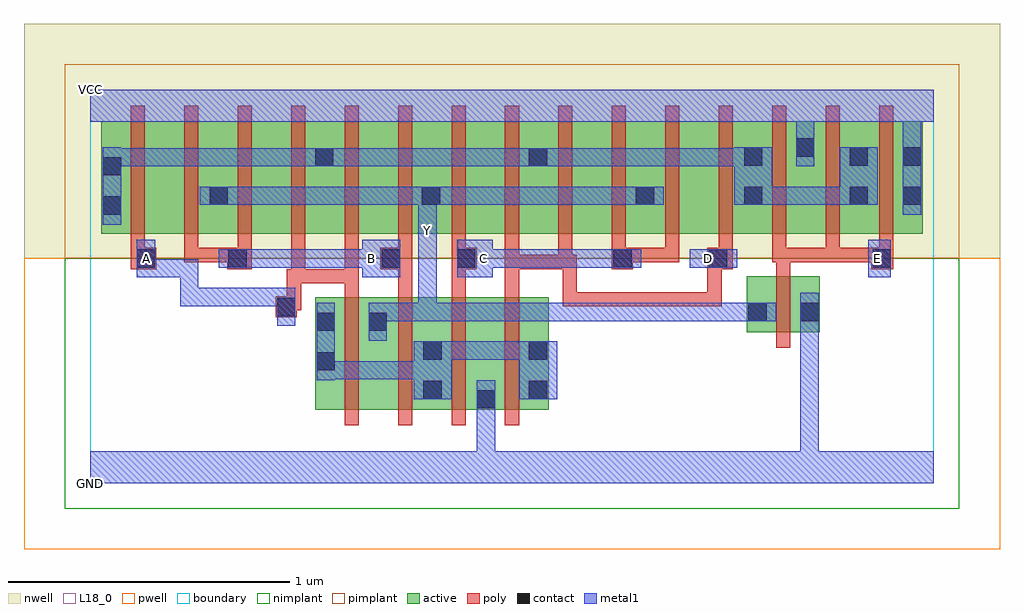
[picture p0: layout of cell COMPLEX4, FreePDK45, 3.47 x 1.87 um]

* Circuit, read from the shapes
.subckt COMPLEX4 A B C D E GND VCC Y
M1 Y A n1 VSUBS nfet w=0.4u l=0.05u
M2 n1 B Y VSUBS nfet w=0.4u l=0.05u
M3 GND C n1 VSUBS nfet w=0.4u l=0.05u
M4 n1 D GND VSUBS nfet w=0.4u l=0.05u
M5 GND E Y VSUBS nfet w=0.2u l=0.05u
M6 n2 A n3 n4 pfet w=0.4u l=0.05u
M7 Y B n2 n4 pfet w=0.4u l=0.05u
M8 n5 B Y n4 pfet w=0.4u l=0.05u
M9 n3 A n5 n4 pfet w=0.4u l=0.05u
M10 n6 A n3 n4 pfet w=0.4u l=0.05u
M11 Y B n6 n4 pfet w=0.4u l=0.05u
M12 n7 C Y n4 pfet w=0.4u l=0.05u
M13 n3 D n7 n4 pfet w=0.4u l=0.05u
M14 n8 D n3 n4 pfet w=0.4u l=0.05u
M15 Y C n8 n4 pfet w=0.4u l=0.05u
M16 n9 C Y n4 pfet w=0.4u l=0.05u
M17 n3 D n9 n4 pfet w=0.4u l=0.05u
M18 VCC E n3 n4 pfet w=0.4u l=0.05u m=3
.ends

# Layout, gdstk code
import gdstk
lib = gdstk.Library(unit=1e-6, precision=1e-09)
def R(c, l, rs):  # rectangles x0, y0, x1, y1
    for r in rs: c.add(gdstk.rectangle(r[:2], r[2:], *l))
def A(c, l, x, y, w, h, nx, ny, dx, dy):  # array of equal rectangles
    R(c, l, [(x+i*dx, y+j*dy, x+i*dx+w, y+j*dy+h) for i in range(nx) for j in range(ny)])
active = (1, 0)
pwell = (2, 0)
nwell = (3, 0)
nimplant = (4, 0)
pimplant = (5, 0)
poly = (9, 0)
contact = (10, 0)
metal1 = (11, 0)
L18_0 = (18, 0)
boundary = (235, 0)

complex4 = lib.new_cell('COMPLEX4')
A(complex4, active, 0.645, 0.887, 0.225, 0.4, 4, 1, 0.38, 0)
A(complex4, active, 0.795, 0.887, 0.23, 0.4, 4, 1, 0.38, 0)
R(complex4, active, [(0.8,0.262,1.06,0.662), (0.985,0.262,1.255,0.662), (1.18,0.262,1.445,0.662), (1.18,0.262,1.255,0.562), (1.37,0.262,1.63,0.662), (1.37,0.262,1.445,0.492), (0.8,0.295,0.875,0.662), (1.555,0.295,1.63,0.527), (0.985,0.332,1.06,0.612), (2.335,0.537,2.595,0.737), (2.52,0.537,2.595,0.737), (2.335,0.545,2.41,0.737), (0.04,0.887,0.265,1.287), (0.04,0.887,0.145,1.2), (0.265,0.887,0.495,1.287), (0.42,0.887,0.495,1.07), (0.42,0.887,0.645,1.287), (0.795,0.887,0.87,1.2), (1.175,0.887,1.25,1.07), (1.555,0.887,1.63,1.2), (1.935,0.887,2.01,1.07), (2.165,0.887,2.395,1.287), (2.32,0.887,2.58,1.287), (2.32,0.887,2.395,1.2), (2.505,0.887,2.77,1.287), (2.505,0.887,2.58,1.255), (2.695,0.887,2.96,1.287), (2.695,0.887,2.77,1.2), (2.885,0.887,2.96,1.255)])
R(complex4, pwell, [(-0.235,-0.235,3.235,0.8)])
R(complex4, nwell, [(-0.235,0.8,3.235,1.635)])
R(complex4, nimplant, [(-0.09,-0.09,3.09,0.8)])
R(complex4, pimplant, [(-0.09,0.8,3.09,1.49)])
A(complex4, poly, 0.905, 0.207, 0.05, 0.51, 4, 1, 0.19, 0)
A(complex4, poly, 1.095, 0.667, 0.05, 0.145, 3, 1, 0.19, 0)
A(complex4, poly, 0.145, 0.787, 0.05, 0.095, 3, 1, 0.19, 0)
A(complex4, poly, 1.855, 0.787, 0.05, 0.095, 6, 1, 0.19, 0)
A(complex4, poly, 0.145, 0.832, 0.05, 0.51, 15, 1, 0.19, 0)
R(complex4, poly, [(2.44,0.482,2.49,0.792), (0.66,0.59,0.735,0.665), (0.685,0.615,0.735,0.665), (0.685,0.615,0.75,0.665), (0.7,0.615,0.75,0.762), (1.68,0.63,1.73,0.68), (1.68,0.63,1.73,0.812), (1.68,0.63,1.93,0.68), (1.88,0.63,1.93,0.68), (1.88,0.63,1.93,0.68), (1.88,0.63,1.93,0.68), (1.88,0.63,2.062,0.68), (2.012,0.63,2.062,0.68), (2.012,0.63,2.062,0.68), (2.012,0.63,2.062,0.68), (2.012,0.63,2.245,0.68), (2.195,0.63,2.245,0.68), (2.195,0.63,2.245,0.68), (2.195,0.63,2.245,0.68), (2.195,0.63,2.245,0.68), (2.195,0.63,2.245,0.68), (2.195,0.63,2.245,0.812), (0.905,0.667,0.955,0.762), (0.7,0.712,0.765,0.762), (0.715,0.712,0.765,0.762), (0.715,0.712,0.765,0.762), (0.715,0.712,0.955,0.762), (0.715,0.712,0.765,0.882), (0.905,0.712,0.955,0.762), (0.905,0.712,0.955,0.882), (2.44,0.742,2.49,0.837), (0.145,0.762,0.235,0.837), (0.487,0.762,0.575,0.837), (1.032,0.762,1.145,0.837), (1.285,0.762,1.375,0.837), (1.475,0.762,1.525,0.812), (1.475,0.762,1.525,0.882), (1.475,0.762,1.715,0.812), (1.665,0.762,1.715,0.812), (1.665,0.762,1.715,0.812), (1.665,0.762,1.73,0.812), (1.665,0.762,1.715,0.882), (1.68,0.762,1.73,0.812), (1.68,0.762,1.73,0.812), (1.855,0.762,1.93,0.837), (2.195,0.762,2.285,0.837), (2.777,0.762,2.855,0.837), (0.335,0.787,0.385,0.837), (0.335,0.787,0.385,0.837), (0.335,0.787,0.385,0.837), (0.335,0.787,0.537,0.837), (1.095,0.787,1.145,0.882), (1.285,0.787,1.335,0.882), (1.88,0.787,2.095,0.837), (2.045,0.787,2.095,0.837), (2.045,0.787,2.095,0.837), (2.045,0.787,2.095,0.837), (2.425,0.787,2.49,0.837), (2.44,0.787,2.665,0.837), (2.615,0.787,2.665,0.837), (2.615,0.787,2.665,0.837), (2.615,0.787,2.665,0.837), (2.615,0.787,2.827,0.837), (2.777,0.787,2.827,0.837), (2.777,0.787,2.827,0.837)])
R(complex4, contact, [(1.375,0.267,1.44,0.332), (1.185,0.3,1.25,0.365), (1.56,0.3,1.625,0.365), (0.805,0.402,0.87,0.467), (1.185,0.44,1.25,0.505), (1.56,0.44,1.625,0.505), (0.805,0.542,0.87,0.607), (0.99,0.542,1.055,0.607), (2.34,0.577,2.405,0.642), (2.525,0.577,2.59,0.642), (0.665,0.595,0.73,0.66), (0.165,0.767,0.23,0.832), (0.492,0.767,0.557,0.832), (1.037,0.767,1.102,0.832), (1.305,0.767,1.37,0.832), (1.86,0.767,1.925,0.832), (2.2,0.767,2.265,0.832), (2.782,0.767,2.847,0.832), (0.045,0.955,0.11,1.02), (0.425,0.99,0.49,1.055), (1.18,0.99,1.245,1.055), (1.94,0.99,2.005,1.055), (2.325,0.99,2.39,1.055), (2.7,0.99,2.765,1.055), (2.89,0.99,2.955,1.055), (0.045,1.095,0.11,1.16), (0.8,1.127,0.865,1.192), (1.56,1.127,1.625,1.192), (2.325,1.13,2.39,1.195), (2.7,1.13,2.765,1.195), (2.89,1.13,2.955,1.195), (2.51,1.162,2.575,1.227)])
R(complex4, metal1, [(0,0,3,0.115), (1.375,0.05,1.44,0.115), (1.375,0.05,1.44,0.115), (1.375,0.05,1.44,0.297), (2.525,0.05,2.59,0.115), (2.525,0.05,2.59,0.115), (2.525,0.05,2.59,0.115), (2.525,0.05,2.59,0.115), (2.525,0.05,2.59,0.115), (2.525,0.05,2.59,0.115), (2.525,0.05,2.59,0.115), (2.525,0.05,2.59,0.115), (2.525,0.05,2.59,0.607), (1.375,0.232,1.44,0.297), (1.375,0.232,1.44,0.297), (1.375,0.232,1.44,0.367), (1.15,0.3,1.285,0.505), (1.525,0.3,1.66,0.505), (0.805,0.367,0.87,0.642), (0.805,0.37,0.87,0.435), (0.805,0.37,0.87,0.435), (0.805,0.37,1.072,0.435), (1.007,0.37,1.072,0.435), (1.007,0.37,1.072,0.435), (1.007,0.37,1.072,0.435), (1.007,0.37,1.215,0.435), (1.22,0.44,1.422,0.505), (1.357,0.44,1.59,0.505), (1.357,0.44,1.422,0.505), (1.357,0.44,1.422,0.505), (1.357,0.44,1.422,0.505), (1.525,0.44,1.59,0.505), (1.525,0.44,1.59,0.505), (0.99,0.507,1.055,0.642), (2.525,0.542,2.59,0.677), (0.665,0.56,0.73,0.695), (0.99,0.577,1.232,0.642), (1.167,0.577,1.232,0.642), (1.167,0.577,1.232,0.642), (1.167,0.577,1.232,0.642), (1.167,0.577,1.422,0.642), (1.167,0.577,1.232,0.897), (1.357,0.577,1.422,0.642), (1.357,0.577,1.422,0.642), (1.357,0.577,1.422,0.642), (1.357,0.577,1.612,0.642), (1.547,0.577,1.612,0.642), (1.547,0.577,1.612,0.642), (1.547,0.577,1.612,0.642), (1.547,0.577,1.75,0.642), (1.685,0.577,1.75,0.642), (1.685,0.577,1.832,0.642), (1.767,0.577,1.832,0.642), (1.767,0.577,1.89,0.642), (1.825,0.577,1.89,0.642), (1.825,0.577,2.06,0.642), (1.995,0.577,2.06,0.642), (1.995,0.577,2.06,0.642), (1.995,0.577,2.06,0.642), (1.995,0.577,2.217,0.642), (2.152,0.577,2.217,0.642), (2.152,0.577,2.217,0.642), (2.152,0.577,2.217,0.642), (2.152,0.577,2.37,0.642), (2.305,0.577,2.44,0.642), (0.32,0.63,0.385,0.695), (0.32,0.63,0.522,0.695), (0.32,0.63,0.385,0.797), (0.457,0.63,0.522,0.695), (0.457,0.63,0.692,0.695), (0.627,0.63,0.692,0.695), (0.627,0.63,0.692,0.695), (0.627,0.63,0.692,0.695), (0.627,0.63,0.73,0.695), (0.165,0.732,0.232,0.867), (0.167,0.732,0.247,0.797), (0.182,0.732,0.247,0.797), (0.182,0.732,0.385,0.797), (0.32,0.732,0.385,0.797), (0.32,0.732,0.385,0.797), (0.32,0.732,0.385,0.797), (0.967,0.732,1.102,0.867), (1.305,0.732,1.432,0.867), (2.767,0.732,2.847,0.867), (0.457,0.767,0.592,0.832), (0.527,0.767,0.662,0.832), (0.597,0.767,0.662,0.832), (0.597,0.767,0.73,0.832), (0.665,0.767,0.73,0.832), (0.665,0.767,0.87,0.832), (0.805,0.767,0.87,0.832), (0.805,0.767,0.87,0.832), (0.805,0.767,0.87,0.832), (0.805,0.767,1.032,0.832), (0.967,0.767,1.032,0.832), (0.967,0.767,1.032,0.832), (1.367,0.767,1.432,0.832), (1.367,0.767,1.432,0.832), (1.367,0.767,1.612,0.832), (1.547,0.767,1.612,0.832), (1.547,0.767,1.612,0.832), (1.547,0.767,1.612,0.832), (1.547,0.767,1.75,0.832), (1.685,0.767,1.75,0.832), (1.685,0.767,1.797,0.832), (1.732,0.767,1.797,0.832), (1.732,0.767,1.89,0.832), (1.825,0.767,1.96,0.832), (2.132,0.767,2.3,0.832), (1.167,0.832,1.232,0.967), (1.167,0.902,1.232,1.055), (0.045,0.92,0.11,1.195), (2.89,0.955,2.955,1.23), (0.39,0.99,0.525,1.055), (0.46,0.99,0.525,1.055), (0.46,0.99,0.525,1.055), (0.46,0.99,0.662,1.055), (0.597,0.99,0.662,1.055), (0.597,0.99,0.732,1.055), (0.667,0.99,0.732,1.055), (0.667,0.99,0.87,1.055), (0.805,0.99,0.87,1.055), (0.805,0.99,0.87,1.055), (0.805,0.99,0.87,1.055), (0.805,0.99,1.072,1.055), (1.007,0.99,1.072,1.055), (1.007,0.99,1.072,1.055), (1.007,0.99,1.072,1.055), (1.007,0.99,1.21,1.055), (1.145,0.99,1.28,1.055), (1.215,0.99,1.452,1.055), (1.387,0.99,1.452,1.055), (1.387,0.99,1.452,1.055), (1.387,0.99,1.452,1.055), (1.387,0.99,1.612,1.055), (1.547,0.99,1.612,1.055), (1.547,0.99,1.612,1.055), (1.547,0.99,1.612,1.055), (1.547,0.99,1.75,1.055), (1.685,0.99,1.75,1.055), (1.685,0.99,1.797,1.055), (1.732,0.99,1.797,1.055), (1.732,0.99,1.922,1.055), (1.857,0.99,1.922,1.055), (1.857,0.99,1.97,1.055), (1.905,0.99,2.04,1.055), (2.29,0.99,2.425,1.195), (2.36,0.99,2.425,1.055), (2.36,0.99,2.425,1.055), (2.36,0.99,2.562,1.055), (2.497,0.99,2.73,1.055), (2.497,0.99,2.562,1.055), (2.497,0.99,2.562,1.055), (2.497,0.99,2.562,1.055), (2.665,0.99,2.8,1.195), (0.045,1.127,0.247,1.192), (0.182,1.127,0.247,1.192), (0.182,1.127,0.247,1.192), (0.182,1.127,0.247,1.192), (0.182,1.127,0.247,1.192), (0.182,1.127,0.247,1.192), (0.182,1.127,0.385,1.192), (0.32,1.127,0.385,1.192), (0.32,1.127,0.385,1.192), (0.32,1.127,0.385,1.192), (0.32,1.127,0.522,1.192), (0.457,1.127,0.522,1.192), (0.457,1.127,0.662,1.192), (0.597,1.127,0.662,1.192), (0.597,1.127,0.732,1.192), (0.667,1.127,0.732,1.192), (0.667,1.127,0.83,1.192), (0.765,1.127,0.9,1.192), (0.835,1.127,0.9,1.192), (0.835,1.127,0.9,1.192), (0.835,1.127,1.072,1.192), (1.007,1.127,1.072,1.192), (1.007,1.127,1.21,1.192), (1.145,1.127,1.21,1.192), (1.145,1.127,1.21,1.192), (1.145,1.127,1.21,1.192), (1.145,1.127,1.452,1.192), (1.387,1.127,1.452,1.192), (1.387,1.127,1.452,1.192), (1.387,1.127,1.452,1.192), (1.387,1.127,1.59,1.192), (1.525,1.127,1.59,1.192), (1.525,1.127,1.59,1.192), (1.525,1.127,1.66,1.192), (1.595,1.127,1.752,1.192), (1.687,1.127,1.752,1.192), (1.687,1.127,1.832,1.192), (1.767,1.127,1.832,1.192), (1.767,1.127,1.89,1.192), (1.825,1.127,1.89,1.192), (1.825,1.127,2.06,1.192), (1.995,1.127,2.06,1.192), (1.995,1.127,2.06,1.192), (1.995,1.127,2.06,1.192), (1.995,1.127,2.217,1.192), (2.152,1.127,2.217,1.192), (2.152,1.127,2.217,1.192), (2.152,1.127,2.217,1.192), (2.152,1.127,2.217,1.192), (2.152,1.127,2.217,1.192), (2.152,1.127,2.355,1.192), (2.51,1.127,2.575,1.262), (2.89,1.165,2.955,1.35), (2.51,1.197,2.575,1.35), (0,1.285,3,1.4)])
R(complex4, L18_0, [(0,0,3,0.115), (1.375,0.05,1.44,0.115), (1.375,0.05,1.44,0.115), (1.375,0.05,1.44,0.297), (2.525,0.05,2.59,0.115), (2.525,0.05,2.59,0.115), (2.525,0.05,2.59,0.115), (2.525,0.05,2.59,0.115), (2.525,0.05,2.59,0.115), (2.525,0.05,2.59,0.115), (2.525,0.05,2.59,0.115), (2.525,0.05,2.59,0.115), (2.525,0.05,2.59,0.607), (1.375,0.232,1.44,0.297), (1.375,0.232,1.44,0.297), (1.375,0.232,1.44,0.367), (0.99,0.507,1.055,0.642), (2.525,0.542,2.59,0.677), (0.665,0.56,0.73,0.695), (0.99,0.577,1.232,0.642), (1.167,0.577,1.232,0.642), (1.167,0.577,1.232,0.642), (1.167,0.577,1.232,0.642), (1.167,0.577,1.232,0.897), (1.167,0.577,1.422,0.642), (1.357,0.577,1.422,0.642), (1.357,0.577,1.422,0.642), (1.357,0.577,1.422,0.642), (1.357,0.577,1.612,0.642), (1.547,0.577,1.612,0.642), (1.547,0.577,1.612,0.642), (1.547,0.577,1.612,0.642), (1.547,0.577,1.75,0.642), (1.685,0.577,1.75,0.642), (1.685,0.577,1.832,0.642), (1.767,0.577,1.832,0.642), (1.767,0.577,1.89,0.642), (1.825,0.577,1.89,0.642), (1.825,0.577,2.06,0.642), (1.995,0.577,2.06,0.642), (1.995,0.577,2.06,0.642), (1.995,0.577,2.06,0.642), (1.995,0.577,2.217,0.642), (2.152,0.577,2.217,0.642), (2.152,0.577,2.217,0.642), (2.152,0.577,2.217,0.642), (2.152,0.577,2.37,0.642), (2.305,0.577,2.44,0.642), (0.32,0.63,0.385,0.695), (0.32,0.63,0.385,0.797), (0.32,0.63,0.522,0.695), (0.457,0.63,0.522,0.695), (0.457,0.63,0.692,0.695), (0.627,0.63,0.692,0.695), (0.627,0.63,0.692,0.695), (0.627,0.63,0.692,0.695), (0.627,0.63,0.73,0.695), (0.165,0.732,0.232,0.867), (0.167,0.732,0.247,0.797), (0.182,0.732,0.247,0.797), (0.182,0.732,0.385,0.797), (0.32,0.732,0.385,0.797), (0.32,0.732,0.385,0.797), (0.32,0.732,0.385,0.797), (0.967,0.732,1.102,0.867), (1.305,0.732,1.432,0.867), (2.767,0.732,2.847,0.867), (0.167,0.767,0.232,0.832), (0.457,0.767,0.592,0.832), (0.527,0.767,0.662,0.832), (0.597,0.767,0.662,0.832), (0.597,0.767,0.73,0.832), (0.665,0.767,0.73,0.832), (0.665,0.767,0.87,0.832), (0.805,0.767,0.87,0.832), (0.805,0.767,0.87,0.832), (0.805,0.767,0.87,0.832), (0.805,0.767,1.032,0.832), (0.967,0.767,1.032,0.832), (0.967,0.767,1.032,0.832), (0.967,0.767,1.032,0.832), (1.367,0.767,1.432,0.832), (1.367,0.767,1.432,0.832), (1.367,0.767,1.432,0.832), (1.367,0.767,1.612,0.832), (1.547,0.767,1.612,0.832), (1.547,0.767,1.612,0.832), (1.547,0.767,1.612,0.832), (1.547,0.767,1.75,0.832), (1.685,0.767,1.75,0.832), (1.685,0.767,1.797,0.832), (1.732,0.767,1.797,0.832), (1.732,0.767,1.89,0.832), (1.825,0.767,1.96,0.832), (2.132,0.767,2.3,0.832), (2.167,0.767,2.232,0.832), (2.767,0.767,2.832,0.832), (1.167,0.832,1.232,0.967), (1.167,0.867,1.232,0.932), (1.167,0.902,1.232,1.055), (2.89,0.955,2.955,1.23), (0.39,0.99,0.525,1.055), (0.46,0.99,0.525,1.055), (0.46,0.99,0.525,1.055), (0.46,0.99,0.662,1.055), (0.597,0.99,0.662,1.055), (0.597,0.99,0.732,1.055), (0.667,0.99,0.732,1.055), (0.667,0.99,0.87,1.055), (0.805,0.99,0.87,1.055), (0.805,0.99,0.87,1.055), (0.805,0.99,0.87,1.055), (0.805,0.99,1.072,1.055), (1.007,0.99,1.072,1.055), (1.007,0.99,1.072,1.055), (1.007,0.99,1.072,1.055), (1.007,0.99,1.21,1.055), (1.145,0.99,1.28,1.055), (1.215,0.99,1.452,1.055), (1.387,0.99,1.452,1.055), (1.387,0.99,1.452,1.055), (1.387,0.99,1.452,1.055), (1.387,0.99,1.612,1.055), (1.547,0.99,1.612,1.055), (1.547,0.99,1.612,1.055), (1.547,0.99,1.612,1.055), (1.547,0.99,1.75,1.055), (1.685,0.99,1.75,1.055), (1.685,0.99,1.797,1.055), (1.732,0.99,1.797,1.055), (1.732,0.99,1.922,1.055), (1.857,0.99,1.922,1.055), (1.857,0.99,1.97,1.055), (1.905,0.99,2.04,1.055), (2.51,1.127,2.575,1.262), (2.89,1.165,2.955,1.35), (2.51,1.197,2.575,1.35), (0,1.285,3,1.4)])
R(complex4, boundary, [(0,0,3,1.4)])
complex4.add(gdstk.Label('A', (0.2,0.8), layer=11, texttype=0))
complex4.add(gdstk.Label('B', (1,0.8), layer=11, texttype=0))
complex4.add(gdstk.Label('C', (1.4,0.8), layer=11, texttype=0))
complex4.add(gdstk.Label('D', (2.2,0.8), layer=11, texttype=0))
complex4.add(gdstk.Label('E', (2.8,0.8), layer=11, texttype=0))
complex4.add(gdstk.Label('Y', (1.2,0.9), layer=11, texttype=0))
complex4.add(gdstk.Label('VCC', (0,1.4), layer=11, texttype=0))
complex4.add(gdstk.Label('GND', (0,0), layer=11, texttype=0))

lib.write_gds('COMPLEX4.gds')
